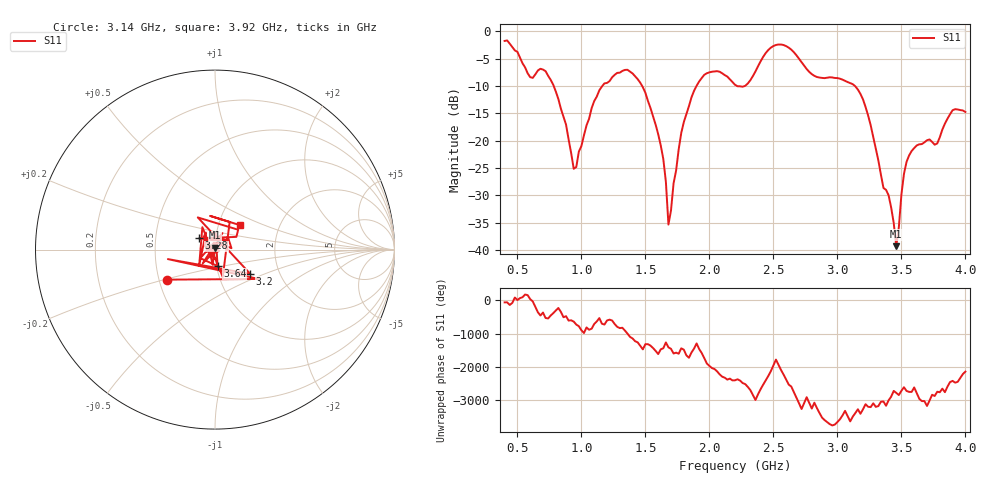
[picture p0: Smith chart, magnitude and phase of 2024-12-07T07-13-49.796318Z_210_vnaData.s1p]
!Created with skrf (http://scikit-rf.org).
# Hz S RI R 50.0
!freq ReS11 ImS11
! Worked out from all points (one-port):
!   181 points, 400 MHz to 4 GHz, reference 50 ohm
!   lowest |S11| = -39.3 dB at 3.46 GHz (marker M1), VSWR 1.02, Z = 49.8 + j1.07 ohm
!   |S11| at or under -10 dB: 783.6 MHz to 1.164 GHz (380 MHz wide, 39 % of centre); 1.475 GHz to 1.899 GHz (424.5 MHz wide, 25.2 % of centre); 3.137 GHz to end of sweep (the widest 3 of 4)
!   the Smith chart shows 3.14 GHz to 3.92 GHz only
!   S11 on the Smith chart (normalised r, x): 3.14 GHz: 0.55, -0.21; 3.2 GHz: 1.42, -0.41; 3.28 GHz: 0.83, +0.11; 3.64 GHz: 1.01, -0.19; 3.92 GHz: 1.26, +0.36
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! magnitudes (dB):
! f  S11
! 400 MHz  -1.8
! 600 MHz  -8.4
! 720 MHz  -7.3
! 860 MHz  -15.6
! 960 MHz  -24.8
! 1.1 GHz  -12.8
! 1.3 GHz  -7.6
! 1.54 GHz  -14.0
! 1.64 GHz  -23.4
! 1.68 GHz  -35.3
! 1.76 GHz  -21.6
! 1.86 GHz  -12.1
! 1.96 GHz  -8.0
! 2.2 GHz  -9.8
! 2.5 GHz  -2.7
! 2.66 GHz  -3.8
! 3.1 GHz  -9.5
! 3.14 GHz  -10.1
! 3.2 GHz  -12.4
! 3.28 GHz  -19.3
! 3.4 GHz  -30.0
! 3.46 GHz  -39.3
! 3.52 GHz  -26.1
! 3.56 GHz  -22.7
! 3.64 GHz  -20.7
! 3.78 GHz  -20.5
! 3.92 GHz  -14.2
! 4 GHz  -14.7
